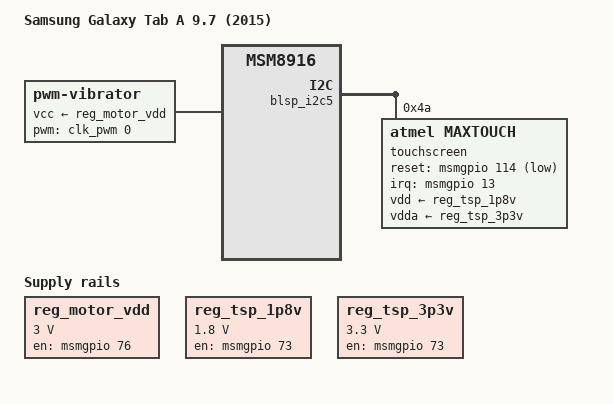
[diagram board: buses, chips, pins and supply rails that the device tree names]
// SPDX-License-Identifier: GPL-2.0-only

/dts-v1/;

#include "msm8916-samsung-gt5-common.dtsi"

/ {
	model = "Samsung Galaxy Tab A 9.7 (2015)";
	compatible = "samsung,gt510", "qcom,msm8916";
	chassis-type = "tablet";

	clk_pwm: pwm {
		compatible = "clk-pwm";
		#pwm-cells = <2>;

		clocks = <&gcc GCC_GP2_CLK>;

		pinctrl-0 = <&motor_pwm_default>;
		pinctrl-names = "default";
	};

	reg_motor_vdd: regulator-motor-vdd {
		compatible = "regulator-fixed";
		regulator-name = "motor_vdd";
		regulator-min-microvolt = <3000000>;
		regulator-max-microvolt = <3000000>;

		gpio = <&msmgpio 76 GPIO_ACTIVE_HIGH>;
		enable-active-high;

		pinctrl-0 = <&motor_en_default>;
		pinctrl-names = "default";
	};

	reg_tsp_1p8v: regulator-tsp-1p8v {
		compatible = "regulator-fixed";
		regulator-name = "tsp_1p8v";
		regulator-min-microvolt = <1800000>;
		regulator-max-microvolt = <1800000>;

		gpio = <&msmgpio 73 GPIO_ACTIVE_HIGH>;
		enable-active-high;

		pinctrl-0 = <&tsp_en_default>;
		pinctrl-names = "default";
	};

	reg_tsp_3p3v: regulator-tsp-3p3v {
		compatible = "regulator-fixed";
		regulator-name = "tsp_3p3v";
		regulator-min-microvolt = <3300000>;
		regulator-max-microvolt = <3300000>;

		gpio = <&msmgpio 73 GPIO_ACTIVE_HIGH>;
		enable-active-high;
	};

	vibrator {
		compatible = "pwm-vibrator";

		pwms = <&clk_pwm 0 100000>;
		pwm-names = "enable";

		vcc-supply = <&reg_motor_vdd>;
	};
};

&blsp_i2c5 {
	status = "okay";

	touchscreen@4a {
		compatible = "atmel,maxtouch";
		reg = <0x4a>;
		interrupt-parent = <&msmgpio>;
		interrupts = <13 IRQ_TYPE_LEVEL_LOW>;

		vdd-supply = <&reg_tsp_1p8v>;
		vdda-supply = <&reg_tsp_3p3v>;

		reset-gpios = <&msmgpio 114 GPIO_ACTIVE_LOW>;

		pinctrl-0 = <&tsp_int_rst_default>;
		pinctrl-names = "default";
	};
};

&msmgpio {
	motor_en_default: motor-en-default-state {
		pins = "gpio76";
		function = "gpio";
		drive-strength = <2>;
		bias-disable;
	};

	motor_pwm_default: motor-pwm-default-state {
		pins = "gpio50";
		function = "gcc_gp2_clk_a";
	};

	tsp_en_default: tsp-en-default-state {
		pins = "gpio73";
		function = "gpio";
		drive-strength = <2>;
		bias-disable;
	};

	tsp_int_rst_default: tsp-int-rst-default-state {
		pins = "gpio13", "gpio114";
		function = "gpio";
		drive-strength = <2>;
		bias-disable;
	};
};
